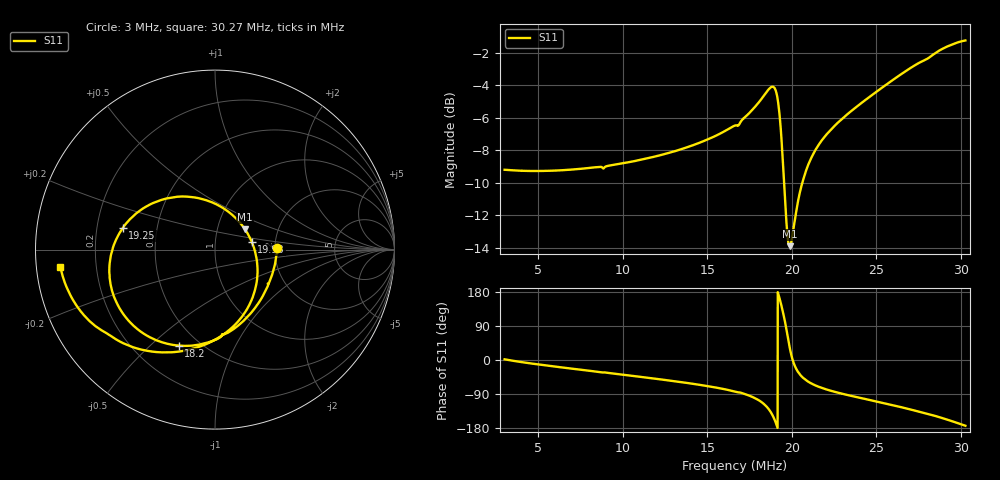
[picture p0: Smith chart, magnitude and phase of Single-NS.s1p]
# HZ S RI R 50
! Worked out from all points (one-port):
!   2727 points, 3 MHz to 30.27 MHz, reference 50 ohm
!   lowest |S11| = -13.9 dB at 19.87 MHz (marker M1), VSWR 1.51, Z = 67.9 + j16 ohm
!   |S11| at or under -10 dB: 19.54 MHz to 20.62 MHz (1.078 MHz wide, 5.37 % of centre)
!   S11 on the Smith chart (normalised r, x): 3 MHz: 2.06, +0.05; 18.2 MHz: 0.39, -0.62; 19.25 MHz: 0.31, +0.10; 19.98 MHz: 1.51, +0.13; 30.27 MHz: 0.07, -0.06
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3000000  0.3464 0.0109
6411364  0.3252 -0.1167
9822728  0.2855 -0.222
1.323409e7  0.2161 -0.3338
1.528491e7  0.1424 -0.4118
1.663545e7  0.0538 -0.471
1.74958e7  -0.0394 -0.5174
1.819608e7  -0.2033 -0.5348
1.853621e7  -0.3422 -0.4984
1.877631e7  -0.4726 -0.4055
1.891636e7  -0.5463 -0.2995
1.904642e7  -0.587 -0.1565
1.914646e7  -0.5768 -0.0191
1.92465e7  -0.5133 0.1206
1.937655e7  -0.3581 0.2535
1.95066e7  -0.1679 0.2957
1.968667e7  0.0452 0.2314
1.986674e7  0.167 0.1131
1.997679e7  0.2049 0.0425
2.004682e7  0.2199 0.00128
2.0517e7  0.2297 -0.1954
2.116726e7  0.1763 -0.3351
2.210764e7  0.0891 -0.4396
2.345818e7  -0.0373 -0.5214
2.532893e7  -0.2385 -0.5719
2.686954e7  -0.4421 -0.5484
2.860024e7  -0.6857 -0.4101
3.02709e7  -0.8609 -0.0977
